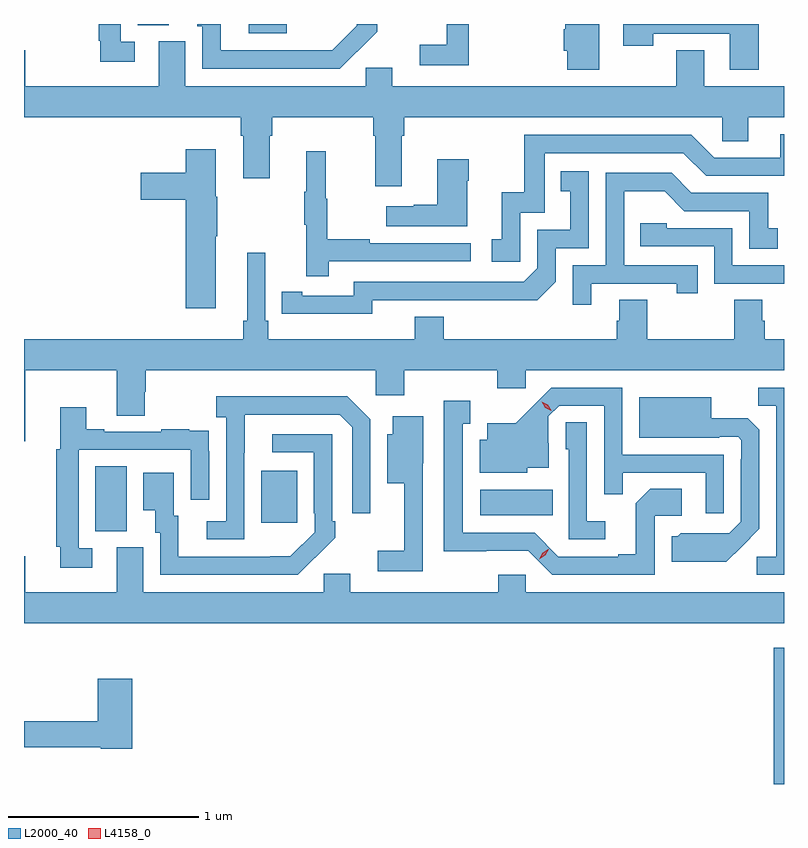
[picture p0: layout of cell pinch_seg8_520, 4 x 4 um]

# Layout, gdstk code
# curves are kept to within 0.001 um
import gdstk
lib = gdstk.Library(unit=1e-6, precision=1e-09)
def R(c, l, rs):  # rectangles x0, y0, x1, y1
    for r in rs: c.add(gdstk.rectangle(r[:2], r[2:], *l))
def P(c, l, *ps):  # polygons
    for p in ps: c.add(gdstk.Polygon(p, *l))
L2000_40 = (2000, 40)
L4158_0 = (4158, 0)

pinch_seg8_520 = lib.new_cell('pinch_seg8_520')
R(pinch_seg8_520, L2000_40, [(133.147,1101.003,133.202,1101.721), (129.578,1102.333,129.742,1102.676), (130.451,1102.377,130.639,1102.651), (131.604,1102.418,131.984,1102.552), (130.386,1104.954,130.584,1105.003), (129.8,1104.997,129.964,1105.003)])
P(pinch_seg8_520, L2000_40, [(129.784,1104.909),(129.711,1104.909),(129.711,1105.003),(129.595,1105.003),(129.595,1104.916),(129.602,1104.916),(129.602,1104.804),(129.784,1104.804)],
  [(133.07,1105.003),(132.357,1105.003),(132.357,1104.888),(132.513,1104.888),(132.513,1104.951),(132.917,1104.951),(132.917,1104.762),(133.07,1104.762)],
  [(132.229,1105.003),(132.05,1105.003),(132.05,1104.975),(132.044,1104.975),(132.044,1104.861),(132.062,1104.861),(132.062,1104.762),(132.229,1104.762)],
  [(131.543,1105.003),(131.426,1105.003),(131.426,1104.895),(131.286,1104.895),(131.286,1104.786),(131.543,1104.786)],
  [(130.955,1104.859),(130.956,1104.858),(131.061,1104.963),(131.061,1105.003),(130.953,1105.003),(130.953,1104.993),(130.825,1104.865),(130.721,1104.864),(130.237,1104.864),(130.237,1105.003),(130.115,1105.003),(130.115,1104.99),(130.14,1104.99),(130.14,1104.768),(130.864,1104.768)],
  [(131.191,1104.416),(131.204,1104.416),(131.204,1104.512),(132.876,1104.512),(132.876,1104.385),(133.015,1104.385),(133.015,1104.512),(133.202,1104.512),(133.202,1104.676),(132.781,1104.676),(132.781,1104.866),(132.634,1104.866),(132.634,1104.676),(131.14,1104.676),(131.14,1104.774),(131.001,1104.774),(131.001,1104.676),(130.051,1104.676),(130.051,1104.912),(129.911,1104.912),(129.911,1104.676),(129.208,1104.676),(129.208,1104.865),(129.202,1104.865),(129.202,1104.512),(130.343,1104.512),(130.343,1104.416),(130.355,1104.416),(130.355,1104.192),(130.495,1104.192),(130.495,1104.416),(130.508,1104.416),(130.508,1104.512),(131.039,1104.512),(131.039,1104.416),(131.051,1104.416),(131.051,1104.15),(131.191,1104.15)],
  [(131.814,1104.009),(131.943,1104.009),(131.943,1104.324),(132.672,1104.324),(132.792,1104.204),(133.202,1104.204),(133.202,1104.423),(133.181,1104.423),(133.181,1104.3),(132.834,1104.3),(132.714,1104.42),(131.835,1104.42),(131.835,1104.118),(131.717,1104.118),(131.717,1103.871),(131.664,1103.871),(131.664,1103.751),(131.814,1103.751)],
  [(130.21,1103.887),(130.218,1103.887),(130.218,1104.093),(130.21,1104.093),(130.21,1104.343),(130.052,1104.343),(130.052,1104.219),(129.816,1104.219),(129.816,1104.077),(130.052,1104.077),(130.052,1103.508),(130.21,1103.508)],
  [(130.805,1103.754),(131.554,1103.754),(131.554,1103.85),(131.021,1103.85),(131.021,1103.87),(130.798,1103.87),(130.798,1104.084),(130.79,1104.084),(130.79,1104.334),(130.688,1104.334),(130.688,1104.121),(130.677,1104.121),(130.677,1103.947),(130.688,1103.947),(130.688,1103.676),(130.805,1103.676)],
  [(131.536,1104.179),(131.544,1104.179),(131.544,1104.292),(131.378,1104.292),(131.378,1104.053),(131.252,1104.053),(131.252,1104.043),(131.109,1104.043),(131.109,1103.939),(131.536,1103.939)],
  [(131.034,1103.55),(131.902,1103.549),(132,1103.646),(132,1103.823),(132.174,1103.823),(132.174,1104.229),(132.028,1104.229),(132.028,1104.123),(132.077,1104.123),(132.077,1103.919),(131.904,1103.919),(131.904,1103.718),(131.832,1103.646),(130.938,1103.646),(130.938,1103.574),(130.666,1103.574),(130.666,1103.594),(130.558,1103.594),(130.558,1103.478),(131.034,1103.477)],
  [(132.187,1103.637),(132.638,1103.637),(132.638,1103.586),(132.749,1103.586),(132.749,1103.733),(132.36,1103.733),(132.36,1104.122),(132.574,1104.122),(132.678,1104.018),(133.02,1104.018),(133.02,1103.82),(133.168,1103.82),(133.168,1103.929),(133.119,1103.929),(133.119,1104.114),(132.715,1104.114),(132.61,1104.219),(132.264,1104.219),(132.264,1103.733),(132.09,1103.733),(132.09,1103.526),(132.187,1103.526)],
  [(133.202,1103.733),(132.93,1103.733),(132.93,1103.928),(132.585,1103.928),(132.585,1103.955),(132.445,1103.955),(132.445,1103.832),(132.834,1103.832),(132.834,1103.637),(133.202,1103.637)],
  [(129.208,1103.18),(129.689,1103.18),(129.689,1102.942),(129.837,1102.942),(129.837,1103.067),(129.842,1103.067),(129.842,1103.18),(131.052,1103.18),(131.052,1103.049),(131.204,1103.049),(131.204,1103.18),(131.693,1103.18),(131.693,1103.085),(131.844,1103.085),(131.844,1103.18),(133.202,1103.18),(133.202,1103.344),(133.1,1103.344),(133.1,1103.442),(133.087,1103.442),(133.087,1103.552),(132.94,1103.552),(132.94,1103.344),(132.483,1103.344),(132.483,1103.552),(132.335,1103.552),(132.335,1103.442),(132.323,1103.442),(132.323,1103.344),(131.411,1103.344),(131.411,1103.461),(131.258,1103.461),(131.258,1103.344),(130.487,1103.344),(130.487,1103.44),(130.473,1103.44),(130.473,1103.8),(130.376,1103.8),(130.376,1103.44),(130.357,1103.44),(130.357,1103.344),(129.202,1103.344),(129.202,1102.806),(129.208,1102.806)],
  [(133.202,1103.088),(133.066,1103.088),(133.066,1102.993),(133.161,1102.993),(133.161,1102.2),(133.059,1102.2),(133.059,1102.104),(133.202,1102.104)],
  [(132.885,1102.737),(132.351,1102.737),(132.351,1103.088),(131.978,1103.088),(131.791,1102.903),(131.639,1102.903),(131.639,1102.816),(131.6,1102.816),(131.6,1102.64),(131.85,1102.64),(131.85,1102.667),(131.965,1102.667),(131.965,1102.796),(131.961,1102.796),(131.961,1102.938),(132.018,1102.995),(132.255,1102.995),(132.255,1102.528),(132.353,1102.528),(132.353,1102.641),(132.789,1102.641),(132.789,1102.428),(132.885,1102.428)],
  [(130.362,1102.747),(130.363,1102.947),(130.863,1102.947),(130.929,1102.881),(130.929,1102.428),(131.025,1102.428),(131.025,1102.923),(130.904,1103.044),(130.215,1103.044),(130.215,1102.934),(130.266,1102.934),(130.266,1102.386),(130.164,1102.386),(130.164,1102.29),(130.362,1102.29)],
  [(132.979,1102.253),(133.071,1102.346),(133.071,1102.868),(133.012,1102.927),(132.82,1102.927),(132.82,1103.038),(132.44,1103.038),(132.44,1102.826),(132.86,1102.826),(132.86,1102.83),(132.96,1102.83),(132.978,1102.812),(132.978,1102.712),(132.975,1102.712),(132.975,1102.383),(132.915,1102.323),(132.658,1102.324),(132.642,1102.308),(132.611,1102.308),(132.611,1102.172),(132.899,1102.172)],
  [(132.522,1102.416),(132.664,1102.416),(132.664,1102.556),(132.499,1102.556),(132.423,1102.48),(132.423,1102.213),(132.329,1102.213),(132.329,1102.2),(132.015,1102.2),(131.889,1102.326),(131.512,1102.326),(131.512,1102.899),(131.551,1102.899),(131.551,1103.02),(131.411,1103.02),(131.411,1102.229),(131.856,1102.23),(131.982,1102.104),(132.522,1102.104)],
  [(129.562,1102.245),(129.489,1102.245),(129.489,1102.761),(130.08,1102.761),(130.08,1102.5),(130.176,1102.5),(130.176,1102.754),(130.175,1102.754),(130.175,1102.863),(130.073,1102.863),(130.073,1102.87),(129.925,1102.87),(129.925,1102.857),(129.625,1102.857),(129.625,1102.87),(129.529,1102.87),(129.529,1102.987),(129.392,1102.987),(129.392,1102.764),(129.373,1102.764),(129.373,1102.252),(129.392,1102.252),(129.392,1102.14),(129.562,1102.14)],
  [(131.301,1102.69),(131.302,1102.69),(131.302,1102.939),(131.144,1102.939),(131.144,1102.843),(131.114,1102.843),(131.114,1102.586),(131.204,1102.586),(131.204,1102.231),(131.064,1102.231),(131.064,1102.122),(131.301,1102.122)],
  [(132.262,1102.387),(132.165,1102.387),(132.165,1102.907),(132.054,1102.907),(132.054,1102.764),(132.069,1102.764),(132.069,1102.29),(132.262,1102.29)],
  [(130.733,1102.195),(130.734,1102.194),(130.839,1102.299),(130.839,1102.387),(130.824,1102.387),(130.824,1102.845),(130.509,1102.845),(130.509,1102.749),(130.728,1102.749),(130.728,1102.429),(130.731,1102.429),(130.731,1102.329),(130.603,1102.201),(130.015,1102.2),(130.015,1102.416),(129.991,1102.416),(129.991,1102.642),(129.83,1102.642),(129.83,1102.445),(129.893,1102.445),(129.893,1102.326),(129.918,1102.326),(129.918,1102.104),(130.642,1102.104)],
  [(133.202,1102.012),(131.844,1102.012),(131.844,1102.105),(131.698,1102.105),(131.698,1102.012),(130.918,1102.012),(130.918,1102.11),(130.779,1102.11),(130.779,1102.012),(129.829,1102.012),(129.829,1102.248),(129.689,1102.248),(129.689,1102.012),(129.208,1102.012),(129.208,1102.201),(129.202,1102.201),(129.202,1101.848),(133.202,1101.848)],
  [(129.773,1101.556),(129.59,1101.556),(129.59,1101.332),(129.202,1101.332),(129.202,1101.196),(129.606,1101.196),(129.606,1101.188),(129.773,1101.188)])
P(pinch_seg8_520, L4158_0, [(131.976,1102.968),(131.945,1102.984),(131.928,1103.014),(131.928,1103.014),(131.928,1103.014),(131.959,1102.999),(131.976,1102.969),(131.976,1102.968)],
  [(131.913,1102.187),(131.913,1102.187),(131.931,1102.22),(131.962,1102.239),(131.963,1102.239),(131.963,1102.239),(131.945,1102.206),(131.914,1102.187)])

lib.write_gds('pinch_seg8_520.gds')
